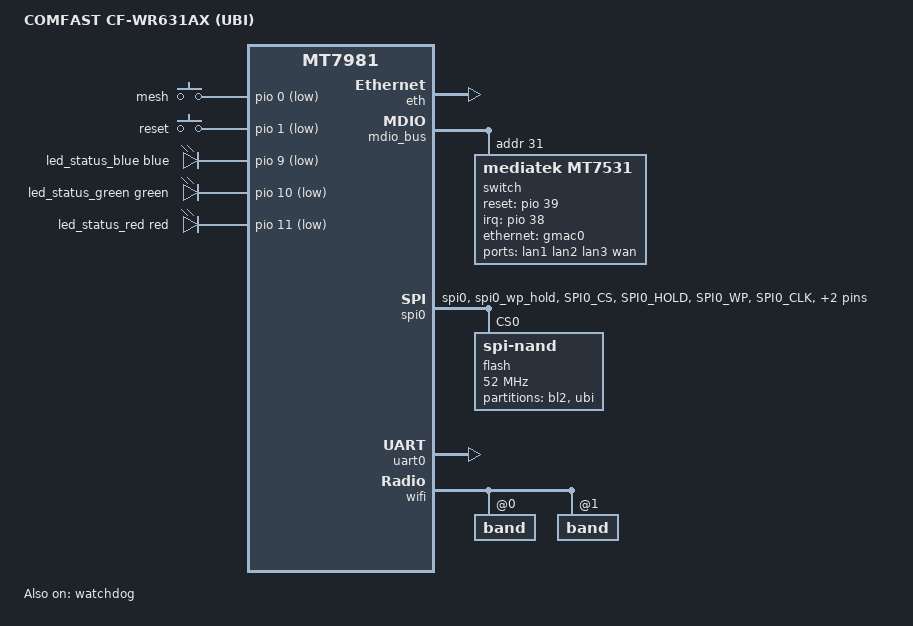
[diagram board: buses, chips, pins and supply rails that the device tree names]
// SPDX-License-Identifier: GPL-2.0-or-later OR MIT

/dts-v1/;

#include "mt7981b.dtsi"

/ {
	model = "COMFAST CF-WR631AX (UBI)";
	compatible = "comfast,cf-wr631ax-ubi", "mediatek,mt7981";

	aliases {
		label-mac-device = &gmac0;
		led-boot = &led_status_red;
		led-failsafe = &led_status_red;
		led-running = &led_status_blue;
		led-upgrade = &led_status_green;
		serial0 = &uart0;
	};

	chosen {
		bootargs = "root=/dev/fit0 rootwait";
		rootdisk = <&ubi_rootdisk>;
		stdout-path = "serial0:115200n8";
	};

	gpio-keys {
		compatible = "gpio-keys";

		button-mesh {
			label = "mesh";
			linux,code = <BTN_9>;
			linux,input-type = <EV_SW>;
			gpios = <&pio 0 GPIO_ACTIVE_LOW>;
		};

		button-reset {
			label = "reset";
			linux,code = <KEY_RESTART>;
			gpios = <&pio 1 GPIO_ACTIVE_LOW>;
		};
	};

	leds {
		compatible = "gpio-leds";

		led_status_blue: led-0 {
			color = <LED_COLOR_ID_BLUE>;
			function = LED_FUNCTION_STATUS;
			gpios = <&pio 9 GPIO_ACTIVE_LOW>;
		};

		led_status_green: led-1 {
			color = <LED_COLOR_ID_GREEN>;
			function = LED_FUNCTION_STATUS;
			gpios = <&pio 10 GPIO_ACTIVE_LOW>;
		};

		led_status_red: led-2 {
			color = <LED_COLOR_ID_RED>;
			function = LED_FUNCTION_STATUS;
			gpios = <&pio 11 GPIO_ACTIVE_LOW>;
		};
	};
};

&eth {
	status = "okay";

	gmac0: mac@0 {
		compatible = "mediatek,eth-mac";
		reg = <0>;
		phy-mode = "2500base-x";

		nvmem-cell-names = "mac-address";
		nvmem-cells = <&macaddr_factory_e000 0>;

		fixed-link {
			speed = <2500>;
			full-duplex;
			pause;
		};
	};
};

&mdio_bus {
	switch: switch@1f {
		compatible = "mediatek,mt7531";
		reg = <31>;
		reset-gpios = <&pio 39 GPIO_ACTIVE_HIGH>;
		interrupt-controller;
		#interrupt-cells = <1>;
		interrupt-parent = <&pio>;
		interrupts = <38 IRQ_TYPE_LEVEL_HIGH>;
	};
};

&pio {
	spi0_flash_pins: spi0-pins {
		mux {
			function = "spi";
			groups = "spi0", "spi0_wp_hold";
		};

		conf-pu {
			pins = "SPI0_CS", "SPI0_HOLD", "SPI0_WP";
			drive-strength = <MTK_DRIVE_4mA>;
			bias-pull-up = <MTK_PUPD_SET_R1R0_11>;
		};

		conf-pd {
			pins = "SPI0_CLK", "SPI0_MOSI", "SPI0_MISO";
			drive-strength = <MTK_DRIVE_4mA>;
			bias-pull-down = <MTK_PUPD_SET_R1R0_11>;
		};
	};
};

&spi0 {
	pinctrl-names = "default";
	pinctrl-0 = <&spi0_flash_pins>;
	status = "okay";

	flash@0 {
		compatible = "spi-nand";
		reg = <0>;

		spi-max-frequency = <52000000>;
		spi-tx-bus-width = <4>;
		spi-rx-bus-width = <4>;

		partitions {
			compatible = "fixed-partitions";
			#address-cells = <1>;
			#size-cells = <1>;

			partition@0 {
				label = "bl2";
				reg = <0x00000 0x100000>;
				read-only;
			};

			partition@100000 {
				label = "ubi";
				reg = <0x100000 0x7f00000>;
				compatible = "linux,ubi";

				volumes {
					ubi_factory: ubi-volume-factory {
						volname = "factory";
					};

					ubi_rootdisk: ubi-volume-fit {
						volname = "fit";
					};

					ubi-volume-ubootenv {
						volname = "ubootenv";
						nvmem-layout {
							compatible = "u-boot,env-redundant-bool";
						};
					};

					ubi-volume-ubootenv2 {
						volname = "ubootenv2";
						nvmem-layout {
							compatible = "u-boot,env-redundant-bool";
						};
					};
				};
			};
		};
	};
};

&switch {
	ports {
		#address-cells = <1>;
		#size-cells = <0>;

		port@0 {
			label = "lan1";
			reg = <0>;
		};

		port@2 {
			label = "lan2";
			reg = <2>;
		};

		port@3 {
			label = "lan3";
			reg = <3>;
		};

		port@4 {
			label = "wan";
			reg = <4>;

			nvmem-cells = <&macaddr_factory_e000 1>;
			nvmem-cell-names = "mac-address";
		};

		port@6 {
			reg = <6>;
			ethernet = <&gmac0>;
			phy-mode = "2500base-x";

			fixed-link {
				speed = <2500>;
				full-duplex;
				pause;
			};
		};
	};
};

&uart0 {
	status = "okay";
};

&ubi_factory {
	nvmem-layout {
		compatible = "fixed-layout";
		#address-cells = <1>;
		#size-cells = <1>;

		eeprom_factory_0: eeprom@0 {
			reg = <0x0 0x1000>;
		};

		macaddr_factory_4: macaddr@4 {
			compatible = "mac-base";
			reg = <0x4 0x6>;
			#nvmem-cell-cells = <1>;
		};

		macaddr_factory_8000: macaddr@8000 {
			compatible = "mac-base";
			reg = <0x8000 0x6>;
			#nvmem-cell-cells = <1>;
		};

		macaddr_factory_e000: macaddr@e000 {
			compatible = "mac-base";
			reg = <0xe000 0x6>;
			#nvmem-cell-cells = <1>;
		};
	};
};

&watchdog {
	status = "okay";
};

&wifi {
	nvmem-cells = <&eeprom_factory_0>;
	nvmem-cell-names = "eeprom";
	status = "okay";
	#address-cells = <1>;
	#size-cells = <0>;

	band@0 {
		reg = <0>;
		nvmem-cells = <&macaddr_factory_4 0>;
		nvmem-cell-names = "mac-address";
	};

	band@1 {
		reg = <1>;
		nvmem-cells = <&macaddr_factory_8000 0>;
		nvmem-cell-names = "mac-address";
	};
};
